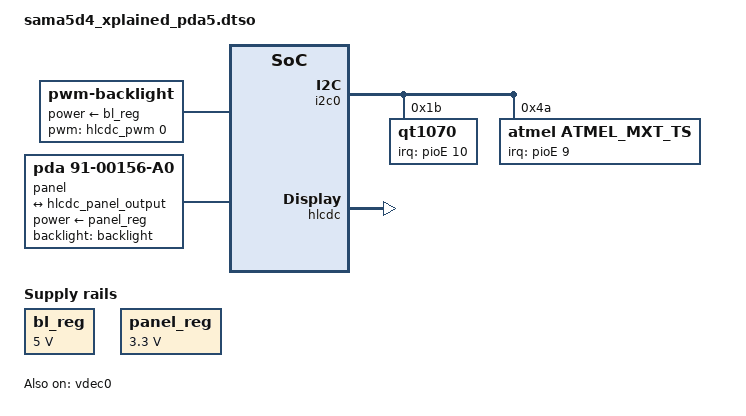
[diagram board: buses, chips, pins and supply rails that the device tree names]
// SPDX-License-Identifier: (GPL-2.0+ OR MIT)
/*
 * Device Tree file for SAMA5D4 Xplained board
 * overlay blob for PDA TM5000 LCD screen.
 *
 * Copyright (C) 2018 Microchip Technology, Inc.
 * Author: Eugen Hristev <eugen.hristev@microchip.com>
 *
 */
/dts-v1/;
/plugin/;

#include "dt-bindings/pinctrl/at91.h"

&i2c0 {
	#address-cells = <1>;
	#size-cells = <0>;

	qt1070: keyboard@1b {
		compatible = "qt1070";
		reg = <0x1b>;
		interrupt-parent = <&pioE>;
		interrupts = <10 0x0>;
		pinctrl-names = "default";
		pinctrl-0 = <&pinctrl_qt1070_irq>;
		wakeup-source;
	};

	atmel_mxt_ts@4a {
		compatible = "atmel,atmel_mxt_ts";
		reg = <0x4a>;
		interrupt-parent = <&pioE>;
		interrupts = <9 0x0>;
		pinctrl-names = "default";
		pinctrl-0 = <&pinctrl_mxt_irq>;
	};
};

&hlcdc {
	status = "okay";

	hlcdc-display-controller {
		pinctrl-names = "default";
		pinctrl-0 = <&pinctrl_lcd_base &pinctrl_lcd_rgb666>;
		port@0 {
			#address-cells = <1>;
			#size-cells = <0>;
			hlcdc_panel_output: endpoint@0 {
				reg = <0>;
				remote-endpoint = <&panel_input>;
			};
		};
	};
};

&pinctrl {
	board {
		pinctrl_qt1070_irq: pinctrl_qt1070_irq {
			atmel,pins =
				<AT91_PIOE 10 AT91_PERIPH_GPIO AT91_PINCTRL_PULL_UP_DEGLITCH>;
		};

		pinctrl_mxt_irq: pinctrl_mxt_irq {
			atmel,pins =
				<AT91_PIOE 9 AT91_PERIPH_GPIO AT91_PINCTRL_PULL_UP_DEGLITCH>;
		};
	};
};

&vdec0 {
	status = "okay";
};

&{/} {
	model = "Atmel SAMA5D4 Xplained TM5000";

	backlight: backlight {
		compatible = "pwm-backlight";
		pwms = <&hlcdc_pwm 0 50000 0>;
		brightness-levels = <0 4 8 16 32 64 128 255>;
		default-brightness-level = <7>;
		power-supply = <&bl_reg>;
		status = "okay";
	};

	bl_reg: backlight_regulator {
		compatible = "regulator-fixed";
		regulator-name = "backlight-power-supply";
		regulator-min-microvolt = <5000000>;
		regulator-max-microvolt = <5000000>;
		status = "okay";
	};

	panel: panel {
		compatible = "pda,91-00156-a0", "simple-panel";
		backlight = <&backlight>;
		power-supply = <&panel_reg>;
		#address-cells = <1>;
		#size-cells = <0>;
		status = "okay";

		port@0 {
			reg = <0>;
			#address-cells = <1>;
			#size-cells = <0>;

			panel_input: endpoint@0 {
				reg = <0>;
				remote-endpoint = <&hlcdc_panel_output>;
			};
		};
	};

	panel_reg: panel_regulator {
		compatible = "regulator-fixed";
		regulator-name = "panel-power-supply";
		regulator-min-microvolt = <3300000>;
		regulator-max-microvolt = <3300000>;
		status = "okay";
	};
};

